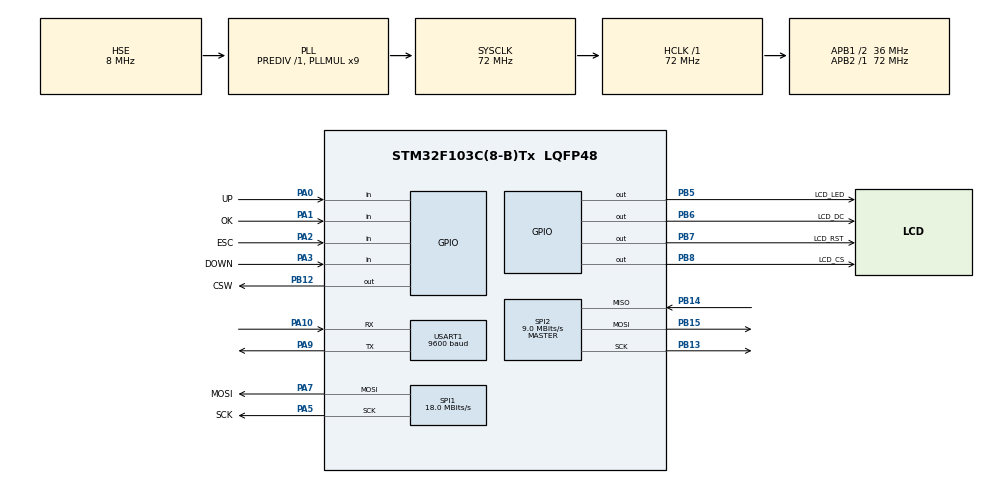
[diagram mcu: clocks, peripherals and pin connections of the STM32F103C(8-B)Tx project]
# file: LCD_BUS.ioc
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Mcu.Family=STM32F1
Mcu.Name=STM32F103C(8-B)Tx
Mcu.Package=LQFP48
NVIC.PriorityGroup=NVIC_PRIORITYGROUP_4
NVIC.TIM1_UP_IRQn=true\:15\:0\:false\:false\:true\:false\:true\:true
NVIC.TimeBase=TIM1_UP_IRQn
NVIC.TimeBaseIP=TIM1
NVIC.USART1_IRQn=true\:0\:0\:false\:false\:true\:true\:true\:true
PA0-WKUP.GPIO_Label=UP
PA0-WKUP.GPIO_PuPd=GPIO_PULLUP
PA0-WKUP.Signal=GPIO_Input
PA1.GPIO_Label=OK
PA1.GPIO_PuPd=GPIO_PULLUP
PA1.Signal=GPIO_Input
PA10.Mode=Asynchronous
PA10.Signal=USART1_RX
PA13.Mode=Serial_Wire
PA13.Signal=SYS_JTMS-SWDIO
PA14.Mode=Serial_Wire
PA14.Signal=SYS_JTCK-SWCLK
PA2.GPIO_Label=ESC
PA2.GPIO_PuPd=GPIO_PULLUP
PA2.Signal=GPIO_Input
PA3.GPIO_Label=DOWN
PA3.GPIO_PuPd=GPIO_PULLUP
PA3.Signal=GPIO_Input
PA5.GPIO_Label=SCK
PA5.Mode=TX_Only_Simplex_Unidirect_Master
PA5.Signal=SPI1_SCK
PA7.GPIO_Label=MOSI
PA7.Mode=TX_Only_Simplex_Unidirect_Master
PA7.Signal=SPI1_MOSI
PA9.Mode=Asynchronous
PA9.Signal=USART1_TX
PB12.GPIO_Label=CSW
PB12.Signal=GPIO_Output
PB13.Mode=Full_Duplex_Master
PB13.Signal=SPI2_SCK
PB14.Mode=Full_Duplex_Master
PB14.Signal=SPI2_MISO
PB15.Mode=Full_Duplex_Master
PB15.Signal=SPI2_MOSI
PB5.GPIO_Label=LCD_LED
PB5.Signal=GPIO_Output
PB6.GPIO_Label=LCD_DC
PB6.GPIO_PuPd=GPIO_NOPULL
PB6.GPIO_Speed=GPIO_SPEED_FREQ_LOW
PB6.PinState=GPIO_PIN_RESET
PB6.Signal=GPIO_Output
PB7.GPIO_Label=LCD_RST
PB7.GPIO_PuPd=GPIO_NOPULL
PB7.GPIO_Speed=GPIO_SPEED_FREQ_LOW
PB7.PinState=GPIO_PIN_RESET
PB7.Signal=GPIO_Output
PB8.GPIO_Label=LCD_CS
PB8.GPIO_PuPd=GPIO_NOPULL
PB8.GPIO_Speed=GPIO_SPEED_FREQ_LOW
PB8.PinState=GPIO_PIN_RESET
PB8.Signal=GPIO_Output
PD0-OSC_IN.Mode=HSE-External-Oscillator
PD0-OSC_IN.Signal=RCC_OSC_IN
PD1-OSC_OUT.Mode=HSE-External-Oscillator
PD1-OSC_OUT.Signal=RCC_OSC_OUT
ProjectManager.HeapSize=0x200
ProjectManager.StackSize=0x400
ProjectManager.TargetToolchain=MDK-ARM V5.32
RCC.AHBFreq_Value=72000000
RCC.APB1CLKDivider=RCC_HCLK_DIV2
RCC.APB1Freq_Value=36000000
RCC.APB1TimFreq_Value=72000000
RCC.APB2Freq_Value=72000000
RCC.APB2TimFreq_Value=72000000
RCC.HCLKFreq_Value=72000000
RCC.PLLMUL=RCC_PLL_MUL9
RCC.PLLSourceVirtual=RCC_PLLSOURCE_HSE
RCC.SYSCLKFreq_VALUE=72000000
RCC.SYSCLKSource=RCC_SYSCLKSOURCE_PLLCLK
RCC.USBFreq_Value=72000000
SPI1.BaudRatePrescaler=SPI_BAUDRATEPRESCALER_4
SPI1.CalculateBaudRate=18.0 MBits/s
SPI1.DataSize=SPI_DATASIZE_8BIT
SPI1.Direction=SPI_DIRECTION_2LINES
SPI1.Mode=SPI_MODE_MASTER
SPI1.VirtualType=VM_MASTER
SPI2.BaudRatePrescaler=SPI_BAUDRATEPRESCALER_4
SPI2.CalculateBaudRate=9.0 MBits/s
SPI2.Direction=SPI_DIRECTION_2LINES
SPI2.Mode=SPI_MODE_MASTER
SPI2.VirtualType=VM_MASTER
USART1.BaudRate=9600
USART1.VirtualMode=VM_ASYNC
VP_SYS_VS_tim1.Mode=TIM1
board=custom

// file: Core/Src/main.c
/* USER CODE BEGIN Header */
/**
  ******************************************************************************
  * @file           : main.c
  * @brief          : Main program body
  ******************************************************************************
  * @attention
  *
  * Copyright (c) 2025 STMicroelectronics.
  * All rights reserved.
  *
  * This software is licensed under terms that can be found in the LICENSE file
  * in the root directory of this software component.
  * If no LICENSE file comes with this software, it is provided AS-IS.
  *
  ******************************************************************************
  */
/* USER CODE END Header */
#include "main.h"

/* USER CODE BEGIN Includes */
#include "W25Q64.h"
#include <menu.h>
#include "Button.h"
#include "ili9341.h"
#include "image.h"
//#include <Button_check.h>
/* USER CODE END Includes */

SPI_HandleTypeDef hspi1;
SPI_HandleTypeDef hspi2;

UART_HandleTypeDef huart1;

void SystemClock_Config(void);
static void MX_GPIO_Init(void);
static void MX_SPI1_Init(void);
static void MX_USART1_UART_Init(void);
static void MX_SPI2_Init(void);

/* USER CODE BEGIN 0 */

//#define TUYEN_FLASH_BASE_ADDR  1500  // dia chi bat dau
#define TUYEN_SIZE             6         // 5 ký t? + '\0'
#define TUYEN_TOTAL_COUNT      99

Button_Typedf Button_1;
Button_Typedf Button_2;

void init() {
		ILI9341_Unselect();
//		ILI9341_TouchUnselect();
    ILI9341_Init();
}

//Dien cac tuyen su dung
uint8_t list[] = {32, 80, 81, 82};

// Luu 99 tuyen o dia chi 0.  99 x 5 / 256 ~~ 2 page
void Save_All_Tuyens_To_Flash_Clean(void)
{
    char all_ma[TUYEN_TOTAL_COUNT * TUYEN_SIZE];
    for (uint8_t i = 0; i < TUYEN_TOTAL_COUNT; i++) {
        snprintf(&all_ma[i * TUYEN_SIZE], TUYEN_SIZE, "%03dR3", i + 1);
    }
    W25Q_Write_Clean(0, 0, sizeof(all_ma), (uint8_t*)all_ma);
}

//Xu ly giu 5s nut esc nap flash
void btn_press_timeout_callback(Button_Typedf *ButtonX)
{

	//Nap 99 tuyen nut ESC
	if(ButtonX == &Button_1){
		ILI9341_WriteString(40, 100, "Loading...", Font_16x26, ILI9341_RED, ILI9341_WHITE);
		Save_All_Tuyens_To_Flash_Clean();
		HAL_Delay(20);
		W25Q_Write_Clean(50 ,0 ,9500,(uint8_t*)bus_3);  // 187 x 25 x 2 (1 pixel = 2 byte) = 9350 /256 ~ 37 page
		HAL_Delay(20);
		W25Q_Write_Clean(100 ,0 ,20000,(uint8_t*)bus_4); // 100 x 95 x 2 = 19000 /256 ~= 75 page
		HAL_Delay(20);
		ILI9341_WriteString(40, 100, "Da Nap Xong", Font_16x26, ILI9341_RED, ILI9341_WHITE);
		HAL_Delay(2000);
		NVIC_SystemReset();
	}

	// Xoa toan bo flash nut DOWN
	else if(ButtonX == &Button_2){

		ILI9341_WriteString(40, 100, "Loading...", Font_16x26, ILI9341_RED, ILI9341_WHITE);
		W25Q_ChipErase();
		HAL_Delay(20);
		ILI9341_WriteString(40, 100, "Da Xoa Xong", Font_16x26, ILI9341_RED, ILI9341_WHITE);
		HAL_Delay(2000);
		NVIC_SystemReset();
	}

}

/* USER CODE END 0 */

int main(void)
{

  /* MCU Configuration--------------------------------------------------------*/

  /* Reset of all peripherals, Initializes the Flash interface and the Systick. */
  HAL_Init();

  /* Configure the system clock */
  SystemClock_Config();

  /* Initialize all configured peripherals */
  MX_GPIO_Init();
  MX_SPI1_Init();
  MX_USART1_UART_Init();
  MX_SPI2_Init();
	button_init(&Button_1, ESC_GPIO_Port, ESC_Pin);
	button_init(&Button_2, DOWN_GPIO_Port, DOWN_Pin);

  /* USER CODE BEGIN 2 */
	W25Q_Reset();
	HAL_GPIO_WritePin(LCD_LED_GPIO_Port, LCD_LED_Pin, GPIO_PIN_SET);
	HAL_Delay(1);
	init();
	// Write_99_Tuyens_To_Flash();
	Build_Menu2_From_Flash(list, TONG_TUYEN_SD);
	//ILI9341_Test();
	LCD_Start();
	//W25Q_ChipErase();
  //Write_MaToFlash();
	//Read_MaTo_Flash();

	//W25Q_Write_Clean(0, 0, sizeof((char*)bus_1), (uint8_t*)bus_1);
	//ILI9341_DrawImageFromFlash(0, 80, 240, 40, 0);
  /* USER CODE END 2 */

  /* Infinite loop */
  while (1)
  {

    /* USER CODE BEGIN 3 */
		button_handle(&Button_1);
		button_handle(&Button_2);

	  Menu_HandleButtons();
			//ILI9341_Test();

		//	isPressed = 0;
	 //}

  }
  /* USER CODE END 3 */
}

void SystemClock_Config(void)
{
  RCC_OscInitTypeDef RCC_OscInitStruct = {0};
  RCC_ClkInitTypeDef RCC_ClkInitStruct = {0};

  /** Initializes the RCC Oscillators according to the specified parameters
  * in the RCC_OscInitTypeDef structure.
  */
  RCC_OscInitStruct.OscillatorType = RCC_OSCILLATORTYPE_HSE;
  RCC_OscInitStruct.HSEState = RCC_HSE_ON;
  RCC_OscInitStruct.HSEPredivValue = RCC_HSE_PREDIV_DIV1;
  RCC_OscInitStruct.HSIState = RCC_HSI_ON;
  RCC_OscInitStruct.PLL.PLLState = RCC_PLL_ON;
  RCC_OscInitStruct.PLL.PLLSource = RCC_PLLSOURCE_HSE;
  RCC_OscInitStruct.PLL.PLLMUL = RCC_PLL_MUL9;
  if (HAL_RCC_OscConfig(&RCC_OscInitStruct) != HAL_OK)
  {
    Error_Handler();
  }

  /** Initializes the CPU, AHB and APB buses clocks
  */
  RCC_ClkInitStruct.ClockType = RCC_CLOCKTYPE_HCLK|RCC_CLOCKTYPE_SYSCLK
                              |RCC_CLOCKTYPE_PCLK1|RCC_CLOCKTYPE_PCLK2;
  RCC_ClkInitStruct.SYSCLKSource = RCC_SYSCLKSOURCE_PLLCLK;
  RCC_ClkInitStruct.AHBCLKDivider = RCC_SYSCLK_DIV1;
  RCC_ClkInitStruct.APB1CLKDivider = RCC_HCLK_DIV2;
  RCC_ClkInitStruct.APB2CLKDivider = RCC_HCLK_DIV1;

  if (HAL_RCC_ClockConfig(&RCC_ClkInitStruct, FLASH_LATENCY_2) != HAL_OK)
  {
    Error_Handler();
  }
}

static void MX_SPI1_Init(void)
{

  /* SPI1 parameter configuration*/
  hspi1.Instance = SPI1;
  hspi1.Init.Mode = SPI_MODE_MASTER;
  hspi1.Init.Direction = SPI_DIRECTION_2LINES;
  hspi1.Init.DataSize = SPI_DATASIZE_8BIT;
  hspi1.Init.CLKPolarity = SPI_POLARITY_LOW;
  hspi1.Init.CLKPhase = SPI_PHASE_1EDGE;
  hspi1.Init.NSS = SPI_NSS_SOFT;
  hspi1.Init.BaudRatePrescaler = SPI_BAUDRATEPRESCALER_2;
  hspi1.Init.FirstBit = SPI_FIRSTBIT_MSB;
  hspi1.Init.TIMode = SPI_TIMODE_DISABLE;
  hspi1.Init.CRCCalculation = SPI_CRCCALCULATION_DISABLE;
  hspi1.Init.CRCPolynomial = 10;
  if (HAL_SPI_Init(&hspi1) != HAL_OK)
  {
    Error_Handler();
  }

}

static void MX_SPI2_Init(void)
{

  /* SPI2 parameter configuration*/
  hspi2.Instance = SPI2;
  hspi2.Init.Mode = SPI_MODE_MASTER;
  hspi2.Init.Direction = SPI_DIRECTION_2LINES;
  hspi2.Init.DataSize = SPI_DATASIZE_8BIT;
  hspi2.Init.CLKPolarity = SPI_POLARITY_LOW;
  hspi2.Init.CLKPhase = SPI_PHASE_1EDGE;
  hspi2.Init.NSS = SPI_NSS_SOFT;
  hspi2.Init.BaudRatePrescaler = SPI_BAUDRATEPRESCALER_4;
  hspi2.Init.FirstBit = SPI_FIRSTBIT_MSB;
  hspi2.Init.TIMode = SPI_TIMODE_DISABLE;
  hspi2.Init.CRCCalculation = SPI_CRCCALCULATION_DISABLE;
  hspi2.Init.CRCPolynomial = 10;
  if (HAL_SPI_Init(&hspi2) != HAL_OK)
  {
    Error_Handler();
  }

}

static void MX_USART1_UART_Init(void)
{

  huart1.Instance = USART1;
  huart1.Init.BaudRate = 9600;
  huart1.Init.WordLength = UART_WORDLENGTH_8B;
  huart1.Init.StopBits = UART_STOPBITS_1;
  huart1.Init.Parity = UART_PARITY_NONE;
  huart1.Init.Mode = UART_MODE_TX_RX;
  huart1.Init.HwFlowCtl = UART_HWCONTROL_NONE;
  huart1.Init.OverSampling = UART_OVERSAMPLING_16;
  if (HAL_UART_Init(&huart1) != HAL_OK)
  {
    Error_Handler();
  }

}

static void MX_GPIO_Init(void)
{
  GPIO_InitTypeDef GPIO_InitStruct = {0};

  /* GPIO Ports Clock Enable */
  __HAL_RCC_GPIOD_CLK_ENABLE();
  __HAL_RCC_GPIOA_CLK_ENABLE();
  __HAL_RCC_GPIOB_CLK_ENABLE();

  /*Configure GPIO pin Output Level */
  HAL_GPIO_WritePin(GPIOB, CSW_Pin|LCD_LED_Pin|LCD_DC_Pin|LCD_RST_Pin
                          |LCD_CS_Pin, GPIO_PIN_RESET);

  /*Configure GPIO pins : UP_Pin OK_Pin ESC_Pin DOWN_Pin */
  GPIO_InitStruct.Pin = UP_Pin|OK_Pin|ESC_Pin|DOWN_Pin;
  GPIO_InitStruct.Mode = GPIO_MODE_INPUT;
  GPIO_InitStruct.Pull = GPIO_PULLUP;
  HAL_GPIO_Init(GPIOA, &GPIO_InitStruct);

  /*Configure GPIO pins : CSW_Pin LCD_LED_Pin LCD_DC_Pin LCD_RST_Pin
                           LCD_CS_Pin */
  GPIO_InitStruct.Pin = CSW_Pin|LCD_LED_Pin|LCD_DC_Pin|LCD_RST_Pin
                          |LCD_CS_Pin;
  GPIO_InitStruct.Mode = GPIO_MODE_OUTPUT_PP;
  GPIO_InitStruct.Pull = GPIO_NOPULL;
  GPIO_InitStruct.Speed = GPIO_SPEED_FREQ_LOW;
  HAL_GPIO_Init(GPIOB, &GPIO_InitStruct);

}

void HAL_TIM_PeriodElapsedCallback(TIM_HandleTypeDef *htim)
{
  if (htim->Instance == TIM1)
  {
    HAL_IncTick();
  }
}

void Error_Handler(void)
{
  __disable_irq();
  while (1)
  {
  }
}
